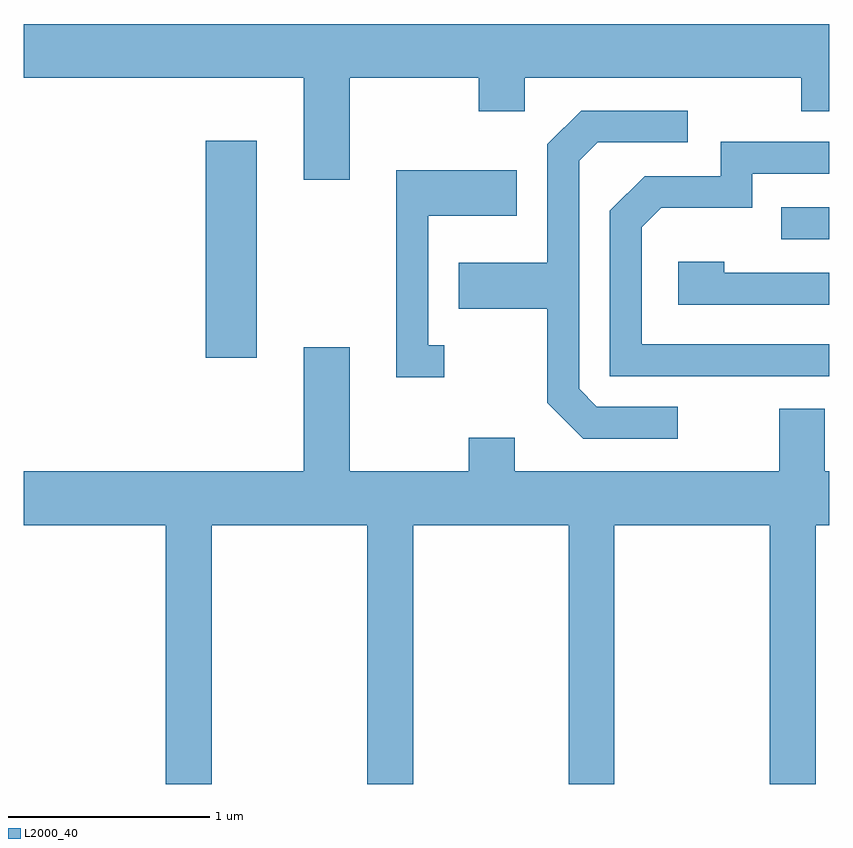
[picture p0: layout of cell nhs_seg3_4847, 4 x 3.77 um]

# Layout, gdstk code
import gdstk
lib = gdstk.Library(unit=1e-6, precision=1e-09)
def R(c, l, rs):  # rectangles x0, y0, x1, y1
    for r in rs: c.add(gdstk.rectangle(r[:2], r[2:], *l))
def P(c, l, *ps):  # polygons
    for p in ps: c.add(gdstk.Polygon(p, *l))
L2000_40 = (2000, 40)

nhs_seg3_4847 = lib.new_cell('nhs_seg3_4847')
R(nhs_seg3_4847, L2000_40, [(328.516,1160.146,328.769,1161.224), (331.373,1160.736,331.611,1160.894)])
P(nhs_seg3_4847, L2000_40, [(329.229,1161.536),(329.871,1161.536),(329.871,1161.371),(330.099,1161.371),(330.099,1161.536),(331.471,1161.536),(331.471,1161.371),(331.611,1161.371),(331.611,1161.804),(327.611,1161.804),(327.611,1161.536),(329.001,1161.536),(329.001,1161.031),(329.229,1161.031)],
  [(330.858,1159.904),(330.457,1159.904),(330.369,1159.992),(330.369,1161.124),(330.462,1161.216),(330.908,1161.216),(330.908,1161.374),(330.379,1161.374),(330.211,1161.207),(330.211,1160.619),(329.771,1160.619),(329.771,1160.391),(330.211,1160.391),(330.211,1159.924),(330.389,1159.746),(330.858,1159.746)],
  [(331.611,1160.214),(330.679,1160.214),(330.679,1160.794),(330.777,1160.891),(331.229,1160.891),(331.229,1161.061),(331.611,1161.061),(331.611,1161.219),(331.071,1161.219),(331.071,1161.049),(330.694,1161.049),(330.521,1160.877),(330.521,1160.056),(331.611,1160.056)],
  [(329.698,1160.209),(329.619,1160.209),(329.619,1160.851),(330.059,1160.851),(330.059,1161.079),(329.461,1161.079),(329.461,1160.051),(329.698,1160.051)],
  [(331.611,1160.569),(331.089,1160.569),(331.089,1160.624),(330.861,1160.624),(330.861,1160.411),(331.611,1160.411)],
  [(328.544,1159.316),(329.316,1159.316),(329.316,1158.031),(329.544,1158.031),(329.544,1159.316),(330.316,1159.316),(330.316,1158.031),(330.544,1158.031),(330.544,1159.316),(331.316,1159.316),(331.316,1158.031),(331.544,1158.031),(331.544,1159.316),(331.611,1159.316),(331.611,1159.584),(331.589,1159.584),(331.589,1159.894),(331.361,1159.894),(331.361,1159.584),(330.049,1159.584),(330.049,1159.749),(329.821,1159.749),(329.821,1159.584),(329.229,1159.584),(329.229,1160.199),(329.001,1160.199),(329.001,1159.584),(327.611,1159.584),(327.611,1159.316),(328.316,1159.316),(328.316,1158.031),(328.544,1158.031)])

lib.write_gds('nhs_seg3_4847.gds')
